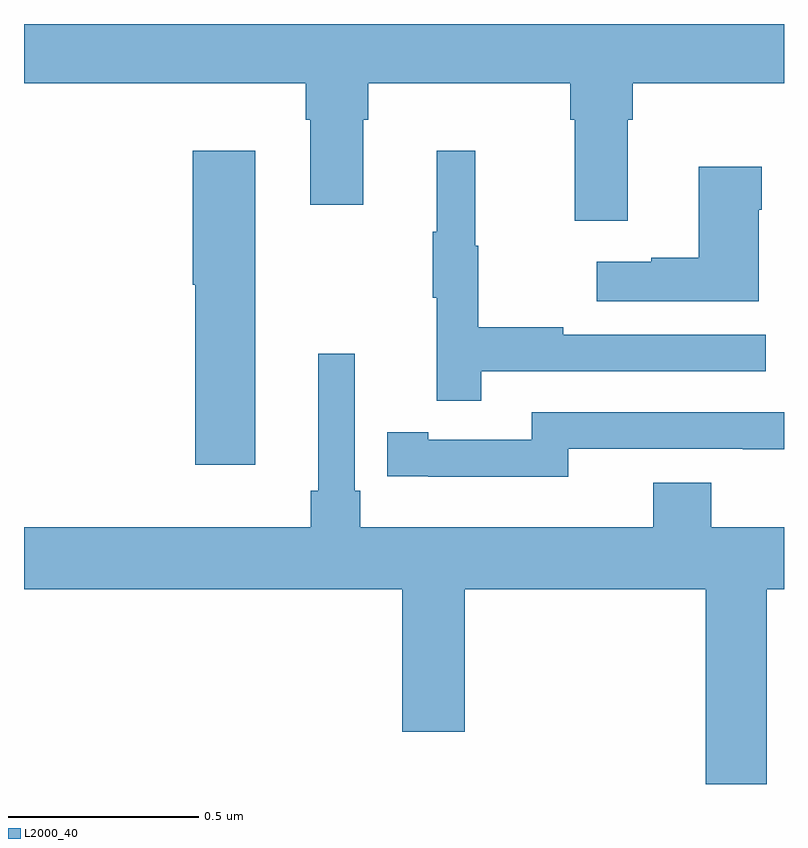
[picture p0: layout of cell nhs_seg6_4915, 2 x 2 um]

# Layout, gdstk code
import gdstk
lib = gdstk.Library(unit=1e-6, precision=1e-09)
def P(c, l, *ps):  # polygons
    for p in ps: c.add(gdstk.Polygon(p, *l))
L2000_40 = (2000, 40)

nhs_seg6_4915 = lib.new_cell('nhs_seg6_4915')
P(nhs_seg6_4915, L2000_40, [(177.589,939.248),(177.602,939.248),(177.602,939.344),(178,939.344),(178,939.5),(176,939.5),(176,939.344),(176.741,939.344),(176.741,939.248),(176.753,939.248),(176.753,939.024),(176.893,939.024),(176.893,939.248),(176.906,939.248),(176.906,939.344),(177.437,939.344),(177.437,939.248),(177.449,939.248),(177.449,938.982),(177.589,938.982)],
  [(177.203,938.586),(177.952,938.586),(177.952,938.682),(177.419,938.682),(177.419,938.702),(177.196,938.702),(177.196,938.916),(177.188,938.916),(177.188,939.166),(177.086,939.166),(177.086,938.953),(177.075,938.953),(177.075,938.779),(177.086,938.779),(177.086,938.508),(177.203,938.508)],
  [(176.608,939.166),(176.444,939.166),(176.444,938.814),(176.45,938.814),(176.45,938.34),(176.608,938.34)],
  [(177.934,939.011),(177.942,939.011),(177.942,939.124),(177.776,939.124),(177.776,938.885),(177.65,938.885),(177.65,938.875),(177.507,938.875),(177.507,938.771),(177.934,938.771)],
  [(177.432,938.382),(177.892,938.382),(177.892,938.381),(178,938.381),(178,938.478),(177.336,938.478),(177.336,938.406),(177.064,938.406),(177.064,938.426),(176.956,938.426),(176.956,938.31),(177.064,938.31),(177.064,938.309),(177.432,938.309)],
  [(176.774,938.632),(176.774,938.272),(176.755,938.272),(176.755,938.176),(176,938.176),(176,938.012),(176.996,938.012),(176.996,937.638),(177.16,937.638),(177.16,938.012),(177.794,938.012),(177.794,937.5),(177.954,937.5),(177.954,938.012),(178,938.012),(178,938.176),(177.809,938.176),(177.809,938.293),(177.656,938.293),(177.656,938.176),(176.885,938.176),(176.885,938.272),(176.871,938.272),(176.871,938.632)])

lib.write_gds('nhs_seg6_4915.gds')
